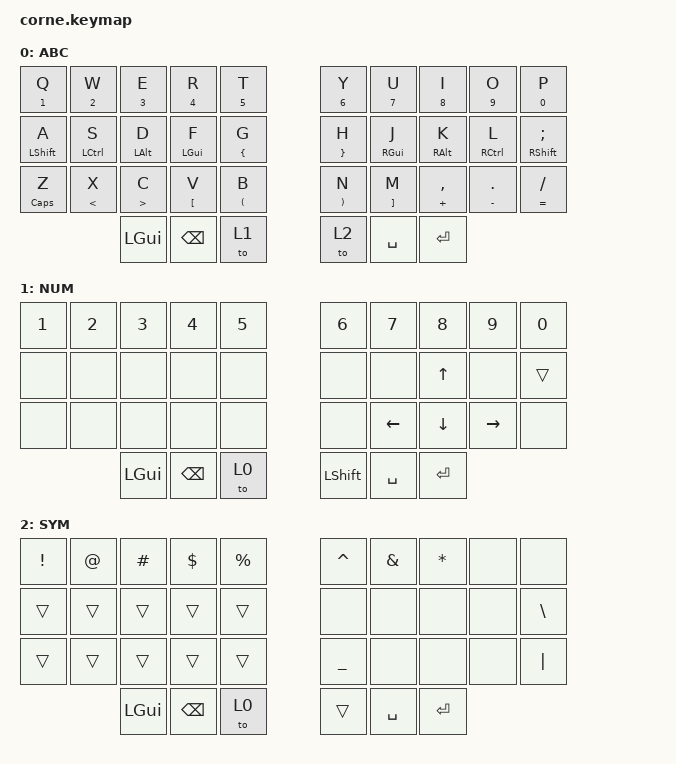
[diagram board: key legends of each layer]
/*
 * Copyright (c) 2020 The ZMK Contributors
 *
 * SPDX-License-Identifier: MIT
 */

#include <layouts/foostan/corne/5column.dtsi>
#include <behaviors.dtsi>
#include <dt-bindings/zmk/keys.h>

/*                KEY POSITIONS

  ╭─────────────────────╮ ╭────────────────────╮
  │  0   1   2   3   4  | | 5   6   7   8   9  │
  │ 10  11  12  13  14  | | 15  16  17  18  19 │
  │ 20  21  22  23  24  │ │ 25  26  27  28  29 │
  ╰──────––╮30  31  32  │ │ 33  34  35 ╭───────╯
           ╰───────–---─╯ ╰──––––──────╯            */

/ {
    chosen { zmk,matrix_transform = &five_column_transform; };
};

/ {
    combos {
        compatible = "zmk,combos";

        cut {
            bindings = <&kp LG( )>;
            key-positions = <20 21>;
            layers = <0>;
        };

        copy {
            bindings = <&kp LG(C)>;
            key-positions = <21 22>;
            layers = <0>;
        };

        paste {
            bindings = <&kp LG(V)>;
            key-positions = <22 23>;
            layers = <0>;
        };

        caps_word {
            bindings = <&caps_word>;
            key-positions = <24 25>;
            layers = <0>;
        };

        vol_up {
            bindings = <&kp C_VOL_UP>;
            key-positions = <7 17>;
        };

        vol_down {
            bindings = <&kp C_VOL_DN>;
            key-positions = <17 27>;
        };

        mute {
            bindings = <&kp K_MUTE>;
            key-positions = <26 27>;
        };

        tilde {
            bindings = <&kp GRAVE>;
            key-positions = <1 2>;
            layers = <0>;
        };

        esc {
            bindings = <&kp ESC>;
            key-positions = <0 1>;
            layers = <0>;
        };

        tab {
            bindings = <&kp TAB>;
            key-positions = <10 11>;
        };
    };

    behaviors {
        hml: hml {
            compatible = "zmk,behavior-hold-tap";
            label = "HML";
            bindings = <&kp>, <&kp>;

            #binding-cells = <2>;
            tapping-term-ms = <300>;
            flavor = "tap-preferred";
        };

        hmr: hmr {
            compatible = "zmk,behavior-hold-tap";
            label = "HMR";
            bindings = <&kp>, <&kp>;

            #binding-cells = <2>;
            tapping-term-ms = <300>;
            hold-trigger-key-positions = <13>;
            flavor = "tap-preferred";
        };

        bht: bht {
            compatible = "zmk,behavior-hold-tap";
            label = "BHT";
            bindings = <&kp>, <&kp>;

            #binding-cells = <2>;
            tapping-term-ms = <300>;
            flavor = "tap-preferred";
        };
    };

    macros {
        new_macro: new_macro {
            compatible = "zmk,behavior-macro";
            #binding-cells = <0>;
            bindings = <&none>;
            label = "NEW_MACRO";
        };
    };

    keymap {
        compatible = "zmk,keymap";

        ABC {
            // -------------------------------------------------------------------
            // |  Q  |  W  |  E  |  R  |  T  |   |  Y  |  U   |  I  |  O  |  P   |
            // |  A  |  S  |  D  |  F  |  G  |   |  H  |  J   |  K  |  L  |  ;   |
            // |  Z  |  X  |  C  |  V  |  B  |   |  N  |  M   |  ,  |  .  |  /   |
            //             | GUI | BACK | NUM |   | SYM | SPACE  | RET |

            bindings = <
  &bht N1 Q        &bht N2 W         &bht N3 E            &bht N4 R            &bht N5 T                  &bht N6 Y                 &bht N7 U             &bht N8 I        &bht N9 O       &bht N0 P
  &hml LSHIFT A    &hml LCTRL S      &hml LALT D          &hml LGUI F          &bht LEFT_BRACE G          &bht RIGHT_BRACE H        &hmr RGUI J           &hmr RALT K      &hmr RCTRL L    &hmr RSHIFT SEMI
  &bht CAPSLOCK Z  &bht LESS_THAN X  &bht GREATER_THAN C  &bht LEFT_BRACKET V  &bht LEFT_PARENTHESIS B    &bht RIGHT_PARENTHESIS N  &bht RIGHT_BRACKET M  &bht PLUS COMMA  &bht MINUS DOT  &bht EQUAL FSLH
                                     &kp LGUI             &kp BACKSPACE        &to 1                      &to 2                     &kp SPACE             &kp RETURN
            >;
        };

        NUM {
            // --------------------------------------------------------------------------
            // |  F1  |  F2  |  F3  |  F4  |  (  |   |  )  |  1  |  2  |  3  |     |
            // |  F5  |  F6  |  F7  |  F8  |  {  |   |  }  |  4  |  5  |  6  |     |
            // |  F9  |  F10 |  F11 |  F12 |  [  |   |  ]  |  7  |  8  |  9  |  0  |
            //               | GUI | SPC | ABC |   | SHIFT | ENT | ALT |

            bindings = <
  &kp N1  &kp N2  &kp N3    &kp N4         &kp N5    &kp N6     &kp N7          &kp N8        &kp N9           &kp N0
  &none   &none   &none     &none          &none     &none      &none           &kp UP_ARROW  &none            &trans
  &none   &none   &none     &none          &none     &none      &kp LEFT_ARROW  &kp DOWN      &kp RIGHT_ARROW  &none
                  &kp LGUI  &kp BACKSPACE  &to 0     &kp LSHFT  &kp SPACE       &kp RETURN
            >;
        };

        SYM {
            // -----------------------------------------------------------------------------------------
            // |  !  |  @  |  #  |  $  |  %  |   |  ^  |  &  |  *  |  (  |  )  |
            // |     |     |     |     |     |   |  -  |  =  |  [  |  ]  |  \  |
            // |     |     |     |     |     |   |  _  |  +  |  {  |  }  | "|" |
            //         | GUI | SPC | letters | extras  |  | ENT | ALT |

            bindings = <
  &kp EXCL  &kp AT  &kp HASH  &kp DLLR       &kp PRCNT    &kp CARET  &kp AMPS   &kp ASTRK   &none  &none
  &trans    &trans  &trans    &trans         &trans       &none      &none      &none       &none  &kp BSLH
  &trans    &trans  &trans    &trans         &trans       &kp UNDER  &none      &none       &none  &kp PIPE
                    &kp LGUI  &kp BACKSPACE  &to 0        &trans     &kp SPACE  &kp RETURN
            >;
        };
    };
};
